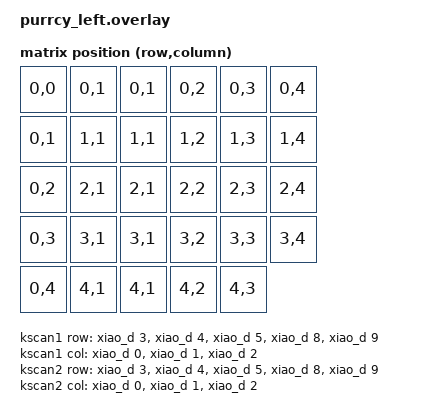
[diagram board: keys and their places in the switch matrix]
#include <dt-bindings/zmk/matrix-transform.h>

/ {
    chosen {
        zmk,kscan = &kscan0;
        zmk,matrix_transform = &default_transform;
    };

    kscan0: kscan_composite {
        compatible = "zmk,kscan-gpio-composite";
        rows = <5>;
        columns = <6>;
        
        matrix { // include matrix drivers
            kscan = <&kscan1>;
        };
        matrix {
            kscan = <&kscan2>;
            column-offset = <3>; //shift kscan2 to avoid overlapping 
        };

    };

    kscan1: kscan_l {
        compatible = "zmk,kscan-gpio-matrix";
        diode-direction = "row2col";
        col-gpios
            = <&xiao_d 0 (GPIO_ACTIVE_HIGH | GPIO_PULL_DOWN)>
            , <&xiao_d 1 (GPIO_ACTIVE_HIGH | GPIO_PULL_DOWN)>
            , <&xiao_d 2 (GPIO_ACTIVE_HIGH | GPIO_PULL_DOWN)>;
        row-gpios
            = <&xiao_d 3 (GPIO_ACTIVE_HIGH | GPIO_PULL_DOWN)>
            , <&xiao_d 4 (GPIO_ACTIVE_HIGH | GPIO_PULL_DOWN)>
            , <&xiao_d 5 (GPIO_ACTIVE_HIGH | GPIO_PULL_DOWN)>
            , <&xiao_d 8 (GPIO_ACTIVE_HIGH | GPIO_PULL_DOWN)>
            , <&xiao_d 9 (GPIO_ACTIVE_HIGH | GPIO_PULL_DOWN)>;
    };

    kscan2: kscan_r {
        compatible = "zmk,kscan-gpio-matrix";
        diode-direction = "col2row";
        col-gpios
            = <&xiao_d 0 (GPIO_ACTIVE_HIGH | GPIO_PULL_DOWN)>
            , <&xiao_d 1 (GPIO_ACTIVE_HIGH | GPIO_PULL_DOWN)>
            , <&xiao_d 2 (GPIO_ACTIVE_HIGH | GPIO_PULL_DOWN)>;
        row-gpios
            = <&xiao_d 3 (GPIO_ACTIVE_HIGH | GPIO_PULL_DOWN)>
            , <&xiao_d 4 (GPIO_ACTIVE_HIGH | GPIO_PULL_DOWN)>
            , <&xiao_d 5 (GPIO_ACTIVE_HIGH | GPIO_PULL_DOWN)>
            , <&xiao_d 8 (GPIO_ACTIVE_HIGH | GPIO_PULL_DOWN)>
            , <&xiao_d 9 (GPIO_ACTIVE_HIGH | GPIO_PULL_DOWN)>;
    };

    default_transform: matrix_transform {
        compatible: "zmk,matrix-transform";
        rows = <5>;
        columns = <6>;
        map = <
            RC(0,0) RC(0,1) RC(0,1) RC(0,2) RC(0,3) RC(0,4)
            RC(0,1) RC(1,1) RC(1,1) RC(1,2) RC(1,3) RC(1,4)
            RC(0,2) RC(2,1) RC(2,1) RC(2,2) RC(2,3) RC(2,4)
            RC(0,3) RC(3,1) RC(3,1) RC(3,2) RC(3,3) RC(3,4)
            RC(0,4) RC(4,1) RC(4,1) RC(4,2) RC(4,3)
        >;
    };
};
